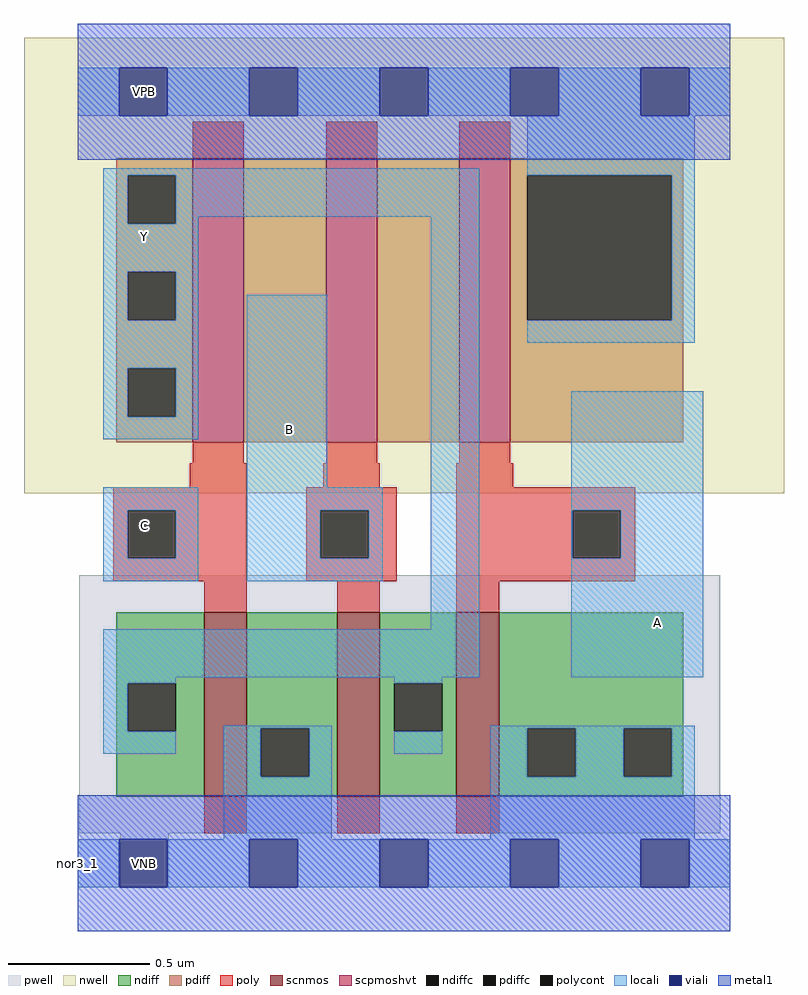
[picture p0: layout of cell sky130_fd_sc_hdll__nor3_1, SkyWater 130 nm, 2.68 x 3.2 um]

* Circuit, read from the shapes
.subckt sky130_fd_sc_hdll__nor3_1 A B C VGND VNB VPB VPWR Y
XM1 VGND C Y VNB sky130_fd_pr__nfet_01v8 w=0.65 l=0.15
XM2 Y B VGND VNB sky130_fd_pr__nfet_01v8 w=0.65 l=0.15
XM3 VGND A Y VNB sky130_fd_pr__nfet_01v8 w=0.65 l=0.15
XM4 n1 C Y VPB sky130_fd_pr__pfet_01v8_hvt w=1 l=0.18
XM5 n2 B n1 VPB sky130_fd_pr__pfet_01v8_hvt w=1 l=0.18
XM6 VPWR A n2 VPB sky130_fd_pr__pfet_01v8_hvt w=1 l=0.18
.ends

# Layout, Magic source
magic
tech sky130A
magscale 1 2
<< nwell >>
rect -38 261 498 582
<< pwell >>
rect 1 21 453 203
rect 30 -17 64 21
<< scnmos >>
rect 89 47 119 177
rect 183 47 213 177
rect 267 47 297 177
<< scpmoshvt >>
rect 81 297 117 497
rect 175 297 211 497
rect 269 297 305 497
<< ndiff >>
rect 27 127 89 177
rect 27 93 35 127
rect 69 93 89 127
rect 27 47 89 93
rect 119 95 183 177
rect 119 61 129 95
rect 163 61 183 95
rect 119 47 183 61
rect 213 127 267 177
rect 213 93 223 127
rect 257 93 267 127
rect 213 47 267 93
rect 297 95 427 177
rect 297 61 317 95
rect 351 61 385 95
rect 419 61 427 95
rect 297 47 427 61
<< pdiff >>
rect 27 485 81 497
rect 27 451 35 485
rect 69 451 81 485
rect 27 417 81 451
rect 27 383 35 417
rect 69 383 81 417
rect 27 349 81 383
rect 27 315 35 349
rect 69 315 81 349
rect 27 297 81 315
rect 117 297 175 497
rect 211 297 269 497
rect 305 485 427 497
rect 305 383 317 485
rect 419 383 427 485
rect 305 297 427 383
<< ndiffc >>
rect 35 93 69 127
rect 129 61 163 95
rect 223 93 257 127
rect 317 61 351 95
rect 385 61 419 95
<< pdiffc >>
rect 35 451 69 485
rect 35 383 69 417
rect 35 315 69 349
rect 317 383 419 485
<< poly >>
rect 81 497 117 523
rect 175 497 211 523
rect 269 497 305 523
rect 81 282 117 297
rect 175 282 211 297
rect 269 282 305 297
rect 79 265 119 282
rect 173 265 213 282
rect 267 265 307 282
rect 25 249 119 265
rect 25 215 35 249
rect 69 215 119 249
rect 25 199 119 215
rect 161 249 225 265
rect 161 215 171 249
rect 205 215 225 249
rect 161 199 225 215
rect 267 249 393 265
rect 267 215 349 249
rect 383 215 393 249
rect 267 199 393 215
rect 89 177 119 199
rect 183 177 213 199
rect 267 177 297 199
rect 89 21 119 47
rect 183 21 213 47
rect 267 21 297 47
<< polycont >>
rect 35 215 69 249
rect 171 215 205 249
rect 349 215 383 249
<< locali >>
rect 0 527 29 561
rect 63 527 121 561
rect 155 527 213 561
rect 247 527 305 561
rect 339 527 397 561
rect 431 527 460 561
rect 18 485 283 490
rect 18 451 35 485
rect 69 456 283 485
rect 69 451 85 456
rect 18 417 85 451
rect 18 383 35 417
rect 69 383 85 417
rect 18 349 85 383
rect 18 315 35 349
rect 69 315 85 349
rect 18 299 85 315
rect 119 265 176 401
rect 18 249 85 265
rect 18 215 35 249
rect 69 215 85 249
rect 18 199 85 215
rect 119 249 215 265
rect 119 215 171 249
rect 205 215 215 249
rect 119 199 215 215
rect 249 165 283 456
rect 317 485 435 527
rect 419 383 435 485
rect 317 367 435 383
rect 18 131 283 165
rect 348 249 441 333
rect 348 215 349 249
rect 383 215 441 249
rect 348 131 441 215
rect 18 127 69 131
rect 18 93 35 127
rect 223 127 257 131
rect 18 77 69 93
rect 103 95 179 97
rect 103 61 129 95
rect 163 61 179 95
rect 223 77 257 93
rect 291 95 435 97
rect 103 17 179 61
rect 291 61 317 95
rect 351 61 385 95
rect 419 61 435 95
rect 291 17 435 61
rect 0 -17 29 17
rect 63 -17 121 17
rect 155 -17 213 17
rect 247 -17 305 17
rect 339 -17 397 17
rect 431 -17 460 17
<< viali >>
rect 29 527 63 561
rect 121 527 155 561
rect 213 527 247 561
rect 305 527 339 561
rect 397 527 431 561
rect 29 -17 63 17
rect 121 -17 155 17
rect 213 -17 247 17
rect 305 -17 339 17
rect 397 -17 431 17
<< metal1 >>
rect 0 561 460 592
rect 0 527 29 561
rect 63 527 121 561
rect 155 527 213 561
rect 247 527 305 561
rect 339 527 397 561
rect 431 527 460 561
rect 0 496 460 527
rect 0 17 460 48
rect 0 -17 29 17
rect 63 -17 121 17
rect 155 -17 213 17
rect 247 -17 305 17
rect 339 -17 397 17
rect 431 -17 460 17
rect 0 -48 460 -17
<< labels >>
flabel locali s 30 221 64 255 0 FreeSans 400 0 0 0 C
port 3 nsew signal input
flabel locali s 30 425 64 459 0 FreeSans 200 0 0 0 Y
port 8 nsew signal output
flabel locali s 392 153 426 187 0 FreeSans 400 0 0 0 A
port 1 nsew signal input
flabel locali s 132 289 166 323 0 FreeSans 400 0 0 0 B
port 2 nsew signal input
flabel nwell s 30 527 64 561 0 FreeSans 200 0 0 0 VPB
port 6 nsew power bidirectional
flabel pwell s 30 -17 64 17 0 FreeSans 200 0 0 0 VNB
port 5 nsew ground bidirectional
flabel metal1 s 30 -17 64 17 0 FreeSans 200 0 0 0 VGND
port 4 nsew ground bidirectional
flabel metal1 s 30 527 64 561 0 FreeSans 200 0 0 0 VPWR
port 7 nsew power bidirectional
rlabel comment s 0 0 0 0 4 nor3_1
<< properties >>
string LEFsite unithd
string LEFclass CORE
string FIXED_BBOX 0 0 460 544
string GDS_FILE $PDKPATH/libs.ref/sky130_fd_sc_hdll/gds/sky130_fd_sc_hdll.gds
string LEFsymmetry X Y R90
string GDS_END 1312156
string GDS_START 1307560
string LEFproperties maskLayoutSubType "abstract" prCellType "standard" originalViewName "layout"
<< end >>
